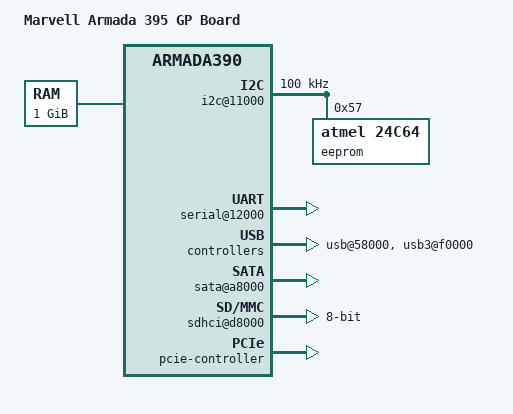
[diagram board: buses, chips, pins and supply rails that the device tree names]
/*
 * Device Tree file for Marvell Armada 395 GP board
 *
 * Copyright (C) 2016 Marvell
 *
 * Grzegorz Jaszczyk <jaz@semihalf.com>
 *
 * This file is dual-licensed: you can use it either under the terms
 * of the GPL or the X11 license, at your option. Note that this dual
 * licensing only applies to this file, and not this project as a
 * whole.
 *
 *  a) This file is licensed under the terms of the GNU General Public
 *     License version 2.  This program is licensed "as is" without
 *     any warranty of any kind, whether express or implied.
 *
 * Or, alternatively,
 *
 *  b) Permission is hereby granted, free of charge, to any person
 *     obtaining a copy of this software and associated documentation
 *     files (the "Software"), to deal in the Software without
 *     restriction, including without limitation the rights to use,
 *     copy, modify, merge, publish, distribute, sublicense, and/or
 *     sell copies of the Software, and to permit persons to whom the
 *     Software is furnished to do so, subject to the following
 *     conditions:
 *
 *     The above copyright notice and this permission notice shall be
 *     included in all copies or substantial portions of the Software.
 *
 *     THE SOFTWARE IS PROVIDED "AS IS", WITHOUT WARRANTY OF ANY KIND,
 *     EXPRESS OR IMPLIED, INCLUDING BUT NOT LIMITED TO THE WARRANTIES
 *     OF MERCHANTABILITY, FITNESS FOR A PARTICULAR PURPOSE AND
 *     NONINFRINGEMENT. IN NO EVENT SHALL THE AUTHORS OR COPYRIGHT
 *     HOLDERS BE LIABLE FOR ANY CLAIM, DAMAGES OR OTHER LIABILITY,
 *     WHETHER IN AN ACTION OF CONTRACT, TORT OR OTHERWISE, ARISING
 *     FROM, OUT OF OR IN CONNECTION WITH THE SOFTWARE OR THE USE OR
 *     OTHER DEALINGS IN THE SOFTWARE.
 */

/dts-v1/;
#include "armada-395.dtsi"

/ {
	model = "Marvell Armada 395 GP Board";
	compatible = "marvell,a395-gp", "marvell,armada395",
		     "marvell,armada390";

	chosen {
		stdout-path = "serial0:115200n8";
	};

	memory {
		device_type = "memory";
		reg = <0x00000000 0x40000000>; /* 1 GB */
	};

	soc {
		ranges = <MBUS_ID(0xf0, 0x01) 0 0xf1000000 0x100000
			  MBUS_ID(0x01, 0x1d) 0 0xfff00000 0x100000>;

		internal-regs {
			i2c@11000 {
				status = "okay";
				clock-frequency = <100000>;

				eeprom@57 {
					compatible = "atmel,24c64";
					reg = <0x57>;
				};
			};

			serial@12000 {
				/*
				 * Exported on the micro USB connector CON17
				 * through an FTDI
				 */
				status = "okay";
			};

			/* CON1 */
			usb@58000 {
				status = "okay";
			};

			/* CON2 */
			sata@a8000 {
				status = "okay";
			};

			flash@d0000 {
				status = "okay";
				pinctrl-0 = <&nand_pins>;
				pinctrl-names = "default";
				num-cs = <1>;
				marvell,nand-keep-config;
				marvell,nand-enable-arbiter;
				nand-on-flash-bbt;
				nand-ecc-strength = <4>;
				nand-ecc-step-size = <512>;

				partitions {
					compatible = "fixed-partitions";
					#address-cells = <1>;
					#size-cells = <1>;

					partition@0 {
						label = "U-Boot";
						reg = <0x00000000 0x00600000>;
						read-only;
					};

					partition@800000 {
						label = "uImage";
						reg = <0x00600000 0x00400000>;
						read-only;
					};

					partition@1000000 {
						label = "Root";
						reg = <0x00a00000 0x3f600000>;
					};
				};
			};

			/* CON18 */
			sdhci@d8000 {
				clock-frequency = <200000000>;
				broken-cd;
				wp-inverted;
				bus-width = <8>;
				status = "okay";
				no-1-8-v;
			};

			/* CON4 */
			usb3@f0000 {
				status = "okay";
			};
		};

		pcie-controller {
			status = "okay";

			/*
			 * The two PCIe units are accessible through
			 * mini PCIe slot on the board.
			 */

			/* CON7 */
			pcie@2,0 {
				/* Port 1, Lane 0 */
				status = "okay";
			};

			/* CON8 */
			pcie@4,0 {
				/* Port 3, Lane 0 */
				status = "okay";
			};
		};
	};
};
